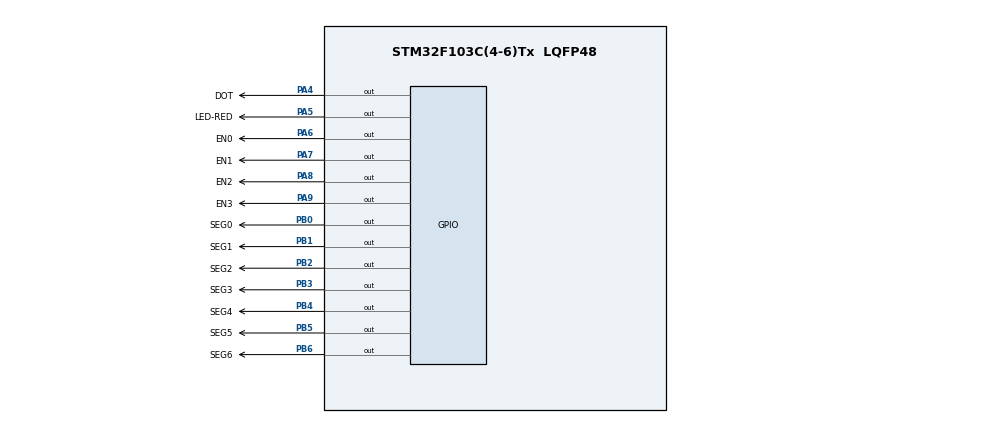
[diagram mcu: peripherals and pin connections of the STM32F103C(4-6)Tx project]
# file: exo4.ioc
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Mcu.Family=STM32F1
Mcu.Name=STM32F103C(4-6)Tx
Mcu.Package=LQFP48
NVIC.PriorityGroup=NVIC_PRIORITYGROUP_4
NVIC.TIM2_IRQn=true\:0\:0\:false\:false\:true\:true\:true
PA4.GPIO_Label=DOT
PA4.Signal=GPIO_Output
PA5.GPIO_Label=LED-RED
PA5.Signal=GPIO_Output
PA6.GPIO_Label=EN0
PA6.Signal=GPIO_Output
PA7.GPIO_Label=EN1
PA7.Signal=GPIO_Output
PA8.GPIO_Label=EN2
PA8.Signal=GPIO_Output
PA9.GPIO_Label=EN3
PA9.Signal=GPIO_Output
PB0.GPIO_Label=SEG0
PB0.Signal=GPIO_Output
PB1.GPIO_Label=SEG1
PB1.Signal=GPIO_Output
PB2.GPIO_Label=SEG2
PB2.Signal=GPIO_Output
PB3.GPIO_Label=SEG3
PB3.Signal=GPIO_Output
PB4.GPIO_Label=SEG4
PB4.Signal=GPIO_Output
PB5.GPIO_Label=SEG5
PB5.Signal=GPIO_Output
PB6.GPIO_Label=SEG6
PB6.Signal=GPIO_Output
ProjectManager.HeapSize=0x200
ProjectManager.StackSize=0x400
ProjectManager.TargetToolchain=STM32CubeIDE
RCC.APB1Freq_Value=8000000
RCC.APB2Freq_Value=8000000
TIM2.Period=9
TIM2.Prescaler=7999
VP_SYS_VS_ND.Mode=No_Debug
VP_TIM2_VS_ClockSourceINT.Mode=Internal
board=custom

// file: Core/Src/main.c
/* USER CODE BEGIN Header */
/**
  ******************************************************************************
  * @file           : main.c
  * @brief          : Main program body
  ******************************************************************************
  * @attention
  *
  * <h2><center>&copy; Copyright (c) 2022 STMicroelectronics.
  * All rights reserved.</center></h2>
  *
  * This software component is licensed by ST under BSD 3-Clause license,
  * the "License"; You may not use this file except in compliance with the
  * License. You may obtain a copy of the License at:
  *                        opensource.org/licenses/BSD-3-Clause
  *
  ******************************************************************************
  */
/* USER CODE END Header */
#include "main.h"

TIM_HandleTypeDef htim2;

void SystemClock_Config(void);
static void MX_GPIO_Init(void);
static void MX_TIM2_Init(void);

/* USER CODE BEGIN 0 */
void display7SEG(int num)
{
	if(num == 0)
	{
		HAL_GPIO_WritePin(SEG0_GPIO_Port, SEG0_Pin, GPIO_PIN_RESET);
		HAL_GPIO_WritePin(SEG1_GPIO_Port, SEG1_Pin, GPIO_PIN_RESET);
		HAL_GPIO_WritePin(SEG2_GPIO_Port, SEG2_Pin, GPIO_PIN_RESET);
		HAL_GPIO_WritePin(SEG3_GPIO_Port, SEG3_Pin, GPIO_PIN_RESET);
		HAL_GPIO_WritePin(SEG4_GPIO_Port, SEG4_Pin, GPIO_PIN_RESET);
		HAL_GPIO_WritePin(SEG5_GPIO_Port, SEG5_Pin, GPIO_PIN_RESET);
		HAL_GPIO_WritePin(SEG6_GPIO_Port, SEG6_Pin, GPIO_PIN_SET);
	}
	if(num == 1)
	{
		HAL_GPIO_WritePin(SEG0_GPIO_Port, SEG0_Pin, GPIO_PIN_SET);
		HAL_GPIO_WritePin(SEG1_GPIO_Port, SEG1_Pin, GPIO_PIN_RESET);
		HAL_GPIO_WritePin(SEG2_GPIO_Port, SEG2_Pin, GPIO_PIN_RESET);
		HAL_GPIO_WritePin(SEG3_GPIO_Port, SEG3_Pin, GPIO_PIN_SET);
		HAL_GPIO_WritePin(SEG4_GPIO_Port, SEG4_Pin, GPIO_PIN_SET);
		HAL_GPIO_WritePin(SEG5_GPIO_Port, SEG5_Pin, GPIO_PIN_SET);
		HAL_GPIO_WritePin(SEG6_GPIO_Port, SEG6_Pin, GPIO_PIN_SET);
	}
	if(num == 2)
	{
		HAL_GPIO_WritePin(SEG0_GPIO_Port, SEG0_Pin, GPIO_PIN_RESET);
		HAL_GPIO_WritePin(SEG1_GPIO_Port, SEG1_Pin, GPIO_PIN_RESET);
		HAL_GPIO_WritePin(SEG2_GPIO_Port, SEG2_Pin, GPIO_PIN_SET);
		HAL_GPIO_WritePin(SEG3_GPIO_Port, SEG3_Pin, GPIO_PIN_RESET);
		HAL_GPIO_WritePin(SEG4_GPIO_Port, SEG4_Pin, GPIO_PIN_RESET);
		HAL_GPIO_WritePin(SEG5_GPIO_Port, SEG5_Pin, GPIO_PIN_SET);
		HAL_GPIO_WritePin(SEG6_GPIO_Port, SEG6_Pin, GPIO_PIN_RESET);

	}
	if(num == 3)
	{
		HAL_GPIO_WritePin(SEG0_GPIO_Port, SEG0_Pin, GPIO_PIN_RESET);
		HAL_GPIO_WritePin(SEG1_GPIO_Port, SEG1_Pin, GPIO_PIN_RESET);
		HAL_GPIO_WritePin(SEG2_GPIO_Port, SEG2_Pin, GPIO_PIN_RESET);
		HAL_GPIO_WritePin(SEG3_GPIO_Port, SEG3_Pin, GPIO_PIN_RESET);
		HAL_GPIO_WritePin(SEG4_GPIO_Port, SEG4_Pin, GPIO_PIN_SET);
		HAL_GPIO_WritePin(SEG5_GPIO_Port, SEG5_Pin, GPIO_PIN_SET);
		HAL_GPIO_WritePin(SEG6_GPIO_Port, SEG6_Pin, GPIO_PIN_RESET);
	}
	if(num == 4)
	{
		HAL_GPIO_WritePin(SEG0_GPIO_Port, SEG0_Pin, GPIO_PIN_SET);
		HAL_GPIO_WritePin(SEG1_GPIO_Port, SEG1_Pin, GPIO_PIN_RESET);
		HAL_GPIO_WritePin(SEG2_GPIO_Port, SEG2_Pin, GPIO_PIN_RESET);
		HAL_GPIO_WritePin(SEG3_GPIO_Port, SEG3_Pin, GPIO_PIN_SET);
		HAL_GPIO_WritePin(SEG4_GPIO_Port, SEG4_Pin, GPIO_PIN_SET);
		HAL_GPIO_WritePin(SEG5_GPIO_Port, SEG5_Pin, GPIO_PIN_RESET);
		HAL_GPIO_WritePin(SEG6_GPIO_Port, SEG6_Pin, GPIO_PIN_RESET);
	}
	if(num == 5)
	{
		HAL_GPIO_WritePin(SEG0_GPIO_Port, SEG0_Pin, GPIO_PIN_RESET);
		HAL_GPIO_WritePin(SEG1_GPIO_Port, SEG1_Pin, GPIO_PIN_SET);
		HAL_GPIO_WritePin(SEG2_GPIO_Port, SEG2_Pin, GPIO_PIN_RESET);
		HAL_GPIO_WritePin(SEG3_GPIO_Port, SEG3_Pin, GPIO_PIN_RESET);
		HAL_GPIO_WritePin(SEG4_GPIO_Port, SEG4_Pin, GPIO_PIN_SET);
		HAL_GPIO_WritePin(SEG5_GPIO_Port, SEG5_Pin, GPIO_PIN_RESET);
		HAL_GPIO_WritePin(SEG6_GPIO_Port, SEG6_Pin, GPIO_PIN_RESET);
	}
	if(num == 6)
	{
		HAL_GPIO_WritePin(SEG0_GPIO_Port, SEG0_Pin, GPIO_PIN_RESET);
		HAL_GPIO_WritePin(SEG1_GPIO_Port, SEG1_Pin, GPIO_PIN_SET);
		HAL_GPIO_WritePin(SEG2_GPIO_Port, SEG2_Pin, GPIO_PIN_RESET);
		HAL_GPIO_WritePin(SEG3_GPIO_Port, SEG3_Pin, GPIO_PIN_RESET);
		HAL_GPIO_WritePin(SEG4_GPIO_Port, SEG4_Pin, GPIO_PIN_RESET);
		HAL_GPIO_WritePin(SEG5_GPIO_Port, SEG5_Pin, GPIO_PIN_RESET);
		HAL_GPIO_WritePin(SEG6_GPIO_Port, SEG6_Pin, GPIO_PIN_RESET);

	}
	if(num == 7)
	{
		HAL_GPIO_WritePin(SEG0_GPIO_Port, SEG0_Pin, GPIO_PIN_RESET);
		HAL_GPIO_WritePin(SEG1_GPIO_Port, SEG1_Pin, GPIO_PIN_RESET);
		HAL_GPIO_WritePin(SEG2_GPIO_Port, SEG2_Pin, GPIO_PIN_RESET);
		HAL_GPIO_WritePin(SEG3_GPIO_Port, SEG3_Pin, GPIO_PIN_SET);
		HAL_GPIO_WritePin(SEG4_GPIO_Port, SEG4_Pin, GPIO_PIN_SET);
		HAL_GPIO_WritePin(SEG5_GPIO_Port, SEG5_Pin, GPIO_PIN_SET);
		HAL_GPIO_WritePin(SEG6_GPIO_Port, SEG6_Pin, GPIO_PIN_SET);
	}
	if(num == 8)
	{
		HAL_GPIO_WritePin(SEG0_GPIO_Port, SEG0_Pin, GPIO_PIN_RESET);
		HAL_GPIO_WritePin(SEG1_GPIO_Port, SEG1_Pin, GPIO_PIN_RESET);
		HAL_GPIO_WritePin(SEG2_GPIO_Port, SEG2_Pin, GPIO_PIN_RESET);
		HAL_GPIO_WritePin(SEG3_GPIO_Port, SEG3_Pin, GPIO_PIN_RESET);
		HAL_GPIO_WritePin(SEG4_GPIO_Port, SEG4_Pin, GPIO_PIN_RESET);
		HAL_GPIO_WritePin(SEG5_GPIO_Port, SEG5_Pin, GPIO_PIN_RESET);
		HAL_GPIO_WritePin(SEG6_GPIO_Port, SEG6_Pin, GPIO_PIN_RESET);
	}
	if(num == 9)
	{
		HAL_GPIO_WritePin(SEG0_GPIO_Port, SEG0_Pin, GPIO_PIN_RESET);
		HAL_GPIO_WritePin(SEG1_GPIO_Port, SEG1_Pin, GPIO_PIN_RESET);
		HAL_GPIO_WritePin(SEG2_GPIO_Port, SEG2_Pin, GPIO_PIN_RESET);
		HAL_GPIO_WritePin(SEG3_GPIO_Port, SEG3_Pin, GPIO_PIN_RESET);
		HAL_GPIO_WritePin(SEG4_GPIO_Port, SEG4_Pin, GPIO_PIN_SET);
		HAL_GPIO_WritePin(SEG5_GPIO_Port, SEG5_Pin, GPIO_PIN_RESET);
		HAL_GPIO_WritePin(SEG6_GPIO_Port, SEG6_Pin, GPIO_PIN_RESET);
	}
}

const int MAX_LED = 4;
int index_led = 0;
int led_buffer [4] = {3 , 4, 5, 8};
void update7SEG (int index)
{
	switch (index)
	{
		case 0:
			// Display the first 7 SEG with led_buffer [0]
			{
				HAL_GPIO_WritePin(EN0_GPIO_Port, EN0_Pin, GPIO_PIN_RESET);
				HAL_GPIO_WritePin(EN1_GPIO_Port, EN1_Pin, GPIO_PIN_SET);
				HAL_GPIO_WritePin(EN2_GPIO_Port, EN2_Pin, GPIO_PIN_SET);
				HAL_GPIO_WritePin(EN3_GPIO_Port, EN3_Pin, GPIO_PIN_SET);
				display7SEG(led_buffer[0]);
				break;
			}
		case 1:
			// Display the second 7 SEG with led_buffer [1]
			{
				HAL_GPIO_WritePin(EN0_GPIO_Port, EN0_Pin, GPIO_PIN_SET);
				HAL_GPIO_WritePin(EN1_GPIO_Port, EN1_Pin, GPIO_PIN_RESET);
				HAL_GPIO_WritePin(EN2_GPIO_Port, EN2_Pin, GPIO_PIN_SET);
				HAL_GPIO_WritePin(EN3_GPIO_Port, EN3_Pin, GPIO_PIN_SET);
				display7SEG(led_buffer[1]);
				break;
			}
		case 2:
			// Display the third 7 SEG with led_buffer [2]
			{
				HAL_GPIO_WritePin(EN0_GPIO_Port, EN0_Pin, GPIO_PIN_SET);
				HAL_GPIO_WritePin(EN1_GPIO_Port, EN1_Pin, GPIO_PIN_SET);
				HAL_GPIO_WritePin(EN2_GPIO_Port, EN2_Pin, GPIO_PIN_RESET);
				HAL_GPIO_WritePin(EN3_GPIO_Port, EN3_Pin, GPIO_PIN_SET);
				display7SEG(led_buffer[2]);
				break;
			}
		case 3:
			// Display the forth 7 SEG with led_buffer [3]
			{
				HAL_GPIO_WritePin(EN0_GPIO_Port, EN0_Pin, GPIO_PIN_SET);
				HAL_GPIO_WritePin(EN1_GPIO_Port, EN1_Pin, GPIO_PIN_SET);
				HAL_GPIO_WritePin(EN2_GPIO_Port, EN2_Pin, GPIO_PIN_SET);
				HAL_GPIO_WritePin(EN3_GPIO_Port, EN3_Pin, GPIO_PIN_RESET);
				display7SEG(led_buffer[3]);
				break;
			}
		default :
			break ;
	}
}
/* USER CODE END 0 */

int main(void)
{

  /* MCU Configuration--------------------------------------------------------*/

  /* Reset of all peripherals, Initializes the Flash interface and the Systick. */
  HAL_Init();

  /* Configure the system clock */
  SystemClock_Config();

  /* Initialize all configured peripherals */
  MX_GPIO_Init();
  MX_TIM2_Init();
  /* USER CODE BEGIN 2 */
  HAL_TIM_Base_Start_IT(&htim2);
  /* USER CODE END 2 */

  /* Infinite loop */
  while (1)
  {

  }
}

void SystemClock_Config(void)
{
  RCC_OscInitTypeDef RCC_OscInitStruct = {0};
  RCC_ClkInitTypeDef RCC_ClkInitStruct = {0};

  /** Initializes the RCC Oscillators according to the specified parameters
  * in the RCC_OscInitTypeDef structure.
  */
  RCC_OscInitStruct.OscillatorType = RCC_OSCILLATORTYPE_HSI;
  RCC_OscInitStruct.HSIState = RCC_HSI_ON;
  RCC_OscInitStruct.HSICalibrationValue = RCC_HSICALIBRATION_DEFAULT;
  RCC_OscInitStruct.PLL.PLLState = RCC_PLL_NONE;
  if (HAL_RCC_OscConfig(&RCC_OscInitStruct) != HAL_OK)
  {
    Error_Handler();
  }
  /** Initializes the CPU, AHB and APB buses clocks
  */
  RCC_ClkInitStruct.ClockType = RCC_CLOCKTYPE_HCLK|RCC_CLOCKTYPE_SYSCLK
                              |RCC_CLOCKTYPE_PCLK1|RCC_CLOCKTYPE_PCLK2;
  RCC_ClkInitStruct.SYSCLKSource = RCC_SYSCLKSOURCE_HSI;
  RCC_ClkInitStruct.AHBCLKDivider = RCC_SYSCLK_DIV1;
  RCC_ClkInitStruct.APB1CLKDivider = RCC_HCLK_DIV1;
  RCC_ClkInitStruct.APB2CLKDivider = RCC_HCLK_DIV1;

  if (HAL_RCC_ClockConfig(&RCC_ClkInitStruct, FLASH_LATENCY_0) != HAL_OK)
  {
    Error_Handler();
  }
}

static void MX_TIM2_Init(void)
{

  TIM_ClockConfigTypeDef sClockSourceConfig = {0};
  TIM_MasterConfigTypeDef sMasterConfig = {0};

  htim2.Instance = TIM2;
  htim2.Init.Prescaler = 7999;
  htim2.Init.CounterMode = TIM_COUNTERMODE_UP;
  htim2.Init.Period = 9;
  htim2.Init.ClockDivision = TIM_CLOCKDIVISION_DIV1;
  htim2.Init.AutoReloadPreload = TIM_AUTORELOAD_PRELOAD_DISABLE;
  if (HAL_TIM_Base_Init(&htim2) != HAL_OK)
  {
    Error_Handler();
  }
  sClockSourceConfig.ClockSource = TIM_CLOCKSOURCE_INTERNAL;
  if (HAL_TIM_ConfigClockSource(&htim2, &sClockSourceConfig) != HAL_OK)
  {
    Error_Handler();
  }
  sMasterConfig.MasterOutputTrigger = TIM_TRGO_RESET;
  sMasterConfig.MasterSlaveMode = TIM_MASTERSLAVEMODE_DISABLE;
  if (HAL_TIMEx_MasterConfigSynchronization(&htim2, &sMasterConfig) != HAL_OK)
  {
    Error_Handler();
  }

}

static void MX_GPIO_Init(void)
{
  GPIO_InitTypeDef GPIO_InitStruct = {0};

  /* GPIO Ports Clock Enable */
  __HAL_RCC_GPIOA_CLK_ENABLE();
  __HAL_RCC_GPIOB_CLK_ENABLE();

  /*Configure GPIO pin Output Level */
  HAL_GPIO_WritePin(GPIOA, DOT_Pin|LED_RED_Pin|EN0_Pin|EN1_Pin
                          |EN2_Pin|EN3_Pin, GPIO_PIN_RESET);

  /*Configure GPIO pin Output Level */
  HAL_GPIO_WritePin(GPIOB, SEG0_Pin|SEG1_Pin|SEG2_Pin|SEG3_Pin
                          |SEG4_Pin|SEG5_Pin|SEG6_Pin, GPIO_PIN_RESET);

  /*Configure GPIO pins : DOT_Pin LED_RED_Pin EN0_Pin EN1_Pin
                           EN2_Pin EN3_Pin */
  GPIO_InitStruct.Pin = DOT_Pin|LED_RED_Pin|EN0_Pin|EN1_Pin
                          |EN2_Pin|EN3_Pin;
  GPIO_InitStruct.Mode = GPIO_MODE_OUTPUT_PP;
  GPIO_InitStruct.Pull = GPIO_NOPULL;
  GPIO_InitStruct.Speed = GPIO_SPEED_FREQ_LOW;
  HAL_GPIO_Init(GPIOA, &GPIO_InitStruct);

  /*Configure GPIO pins : SEG0_Pin SEG1_Pin SEG2_Pin SEG3_Pin
                           SEG4_Pin SEG5_Pin SEG6_Pin */
  GPIO_InitStruct.Pin = SEG0_Pin|SEG1_Pin|SEG2_Pin|SEG3_Pin
                          |SEG4_Pin|SEG5_Pin|SEG6_Pin;
  GPIO_InitStruct.Mode = GPIO_MODE_OUTPUT_PP;
  GPIO_InitStruct.Pull = GPIO_NOPULL;
  GPIO_InitStruct.Speed = GPIO_SPEED_FREQ_LOW;
  HAL_GPIO_Init(GPIOB, &GPIO_InitStruct);

}

/* USER CODE BEGIN 4 */

int counter_7seg = 25;// initial timer counter for led 7-SEG
int counter_LED_RED = 100;// initial timer counter for LED-RED

HAL_TIM_PeriodElapsedCallback(TIM_HandleTypeDef* htim)
{
	// control LED-RED and DOT-LED blink every second
	if(counter_LED_RED > 0) counter_LED_RED --;
	if(counter_LED_RED <= 0)
	{
		 counter_LED_RED = 100;
		 HAL_GPIO_TogglePin(LED_RED_GPIO_Port, LED_RED_Pin);
		 HAL_GPIO_TogglePin(DOT_GPIO_Port, DOT_Pin);
	}
	// control 4 led 7-SEG
	if(counter_7seg > 0) counter_7seg --;
	if(counter_7seg <= 0)
	{
		counter_7seg = 25;//Change the period of invoking to set frequency 1 Hz
		update7SEG(index_led++);
	}

	if(index_led == MAX_LED) index_led = 0;
}
/* USER CODE END 4 */

void Error_Handler(void)
{
  __disable_irq();
  while (1)
  {
  }
}

/************************ (C) COPYRIGHT STMicroelectronics *****END OF FILE****/
